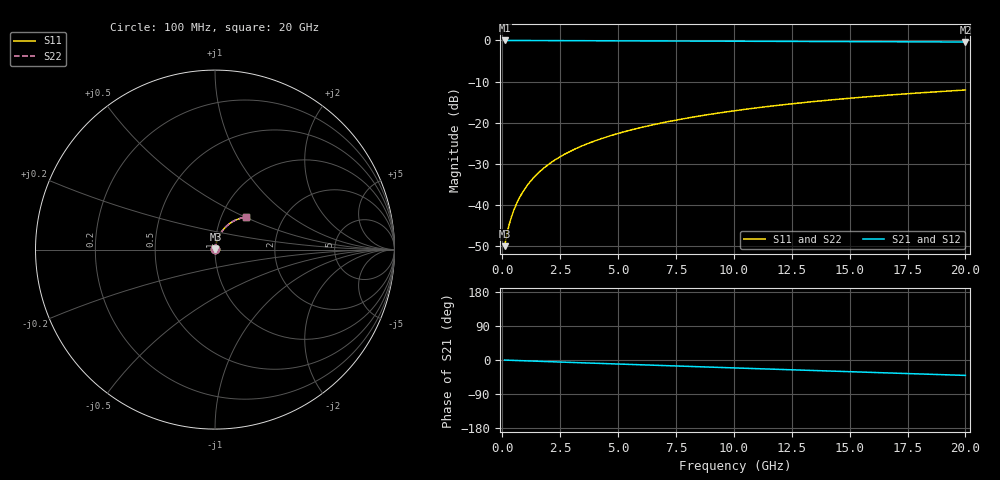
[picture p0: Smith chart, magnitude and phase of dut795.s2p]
! Touchstone file exported from HFSS 2026.1.0
!  File:  C:/ffzhzh/LocalFiles/Ansys_Project_Files/temp_train_TMRDL_795_1783156001_22436.aedt
!  Generated:  05:07:54 PM Jul  4, 2026
!  Design:  TMRDL
!  Project:  temp_train_TMRDL_795_1783156001_22436
! Variables:
!  h_bsmrdl = 2um
!  h_ox = 20um
!  h_rdl = 5um
!  h_sub = 80um
!  h_tmrdl = 5.57um
!  h_tsv = 80um
!  h_via = 3um
!  l_bsmrdl = 300um
!  l_sub = 1079.63um
!  l_tmrdl = 679.63um
!  m_sub = 200um
!  pitch = 31.68um
!  r_tsv = 6um
!  s_tmrdl = 10um
!  w_bsmrdl = 18um
!  w_sub = 500um
!  w_tmrdl = 17.89um
!  x_tsv_center1 = 688.575um
!  x_tsv_center2 = 1006.575um
!  x_tsv_center3 = 1704.095um
!  x_tsv_center4 = 2022.095um
!  x_tsv_center5 = 2719.615um
!  x_tsv_center6 = 3037.615um
# GHz S MA R 50.000000
! Terminal data exported
! Port[1] = TM_RDL1_1_T1
! Port[2] = TM_RDL1_1_T2
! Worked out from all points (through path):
!   200 points, 100 MHz to 20 GHz, reference 50 ohm
!   highest |S21| = -0.02 dB at 100 MHz (marker M1); lowest = -0.4 dB at 20 GHz (marker M2)
!   group delay of S21, straight-line fit = 5.63 ps
!   lowest |S11| = -50.0 dB at 100 MHz (marker M3), VSWR 1.01, Z = 50.3 + j0.181 ohm
!   |S11| at or under -10 dB: start of sweep to end of sweep
!   |S22| runs from -50.0 to -12.1 dB; largest |S21 - S12| = 2e-15
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0.1  0.003151 34.9  0.9974 -0.2  0.9974 -0.2  0.003151 34.9
! Gamma 0 0 0 0
! Port Impedance 50 0 50 0
0.2  0.00444 50.9  0.9972 -0.5  0.9972 -0.5  0.00444 50.9
0.3  0.005813 59.1  0.9971 -0.7  0.9971 -0.7  0.005813 59.1
0.4  0.007216 64.3  0.9969 -0.9  0.9969 -0.9  0.007216 64.3
0.5  0.008649 67.8  0.9969 -1.1  0.9969 -1.1  0.008649 67.8
0.6  0.01011 70.3  0.9968 -1.3  0.9968 -1.3  0.01011 70.3
0.8  0.01307 73.6  0.9966 -1.8  0.9966 -1.8  0.01307 73.6
1.1  0.01758 76.1  0.9964 -2.4  0.9964 -2.4  0.01758 76.1
1.3  0.0206 77.0  0.9962 -2.8  0.9962 -2.8  0.0206 77.0
1.6  0.02512 77.7  0.9958 -3.5  0.9958 -3.5  0.02512 77.7
2.1  0.0326 77.8  0.9952 -4.5  0.9952 -4.5  0.0326 77.8
2.7  0.04144 77.4  0.9942 -5.8  0.9942 -5.8  0.04144 77.4
3.5  0.05296 76.3  0.9929 -7.5  0.9929 -7.5  0.05297 76.3
4.2  0.06283 75.1  0.9916 -9.0  0.9916 -9.0  0.06283 75.1
5  0.07388 73.8  0.9901 -10.6  0.9901 -10.6  0.07389 73.8
5.9  0.08609 72.2  0.9884 -12.5  0.9884 -12.5  0.0861 72.2
6.8  0.09808 70.6  0.9866 -14.4  0.9866 -14.4  0.09809 70.6
8.3  0.1176 67.9  0.9835 -17.4  0.9835 -17.4  0.1176 67.9
10.1  0.1404 64.7  0.9796 -21.1  0.9796 -21.1  0.1404 64.6
13.4  0.1799 58.5  0.9718 -27.7  0.9718 -27.7  0.1799 58.5
16.7  0.2163 52.4  0.9633 -34.2  0.9633 -34.2  0.2163 52.4
20  0.2492 46.3  0.9546 -40.7  0.9546 -40.7  0.2493 46.2
